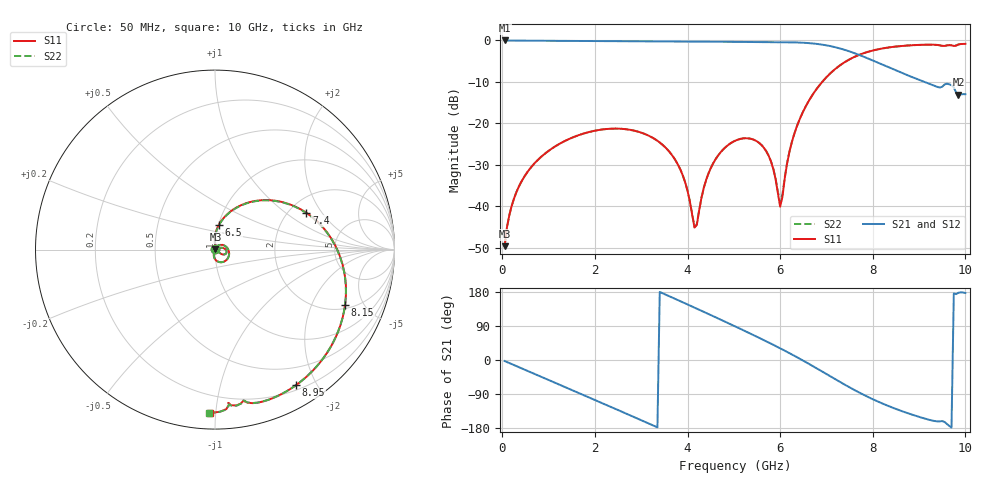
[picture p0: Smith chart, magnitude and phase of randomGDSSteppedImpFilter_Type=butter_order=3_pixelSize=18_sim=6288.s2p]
! freq	dB(S11)	phase(S11)	dB(S12)	phase(S12)
!  dB(S21)	phase(S21)	dB(S22)	phase(S22)
!S-par simulation data
#  GHz  S  DB  R 50
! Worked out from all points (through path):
!   200 points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, 50 MHz to 10 GHz, reference 50 ohm
!   highest |S21| = -0.02 dB at 50 MHz (marker M1); lowest = -13.1 dB at 9.85 GHz (marker M2)
!   group delay of S21, straight-line fit = 159 ps
!   lowest |S11| = -49.6 dB at 50 MHz (marker M3), VSWR 1.01, Z = 50.2 + j0.227 ohm
!   |S11| at or under -10 dB: start of sweep to 6.909 GHz
!   |S22| runs from -49.6 to -0.8 dB; largest |S21 - S12| = 0
!   S11 on the Smith chart (normalised r, x): 50 MHz: 1.00, +0.00; 6.5 GHz: 1.00, +0.28; 7.4 GHz: 2.47, +1.45; 8.15 GHz: 2.20, -3.60; 8.95 GHz: 0.26, -1.73; 10 GHz: 0.09, -0.96
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0.05  -49.64 43.2  -0.02 -2.7  -0.02 -2.7  -49.64 43.2
0.2  -40.03 61.5  -0.04 -10.6  -0.04 -10.6  -40.03 61.5
0.55  -31.64 54.9  -0.07 -29.0  -0.07 -29.0  -31.65 55.0
1.2  -25.18 25.4  -0.11 -63.3  -0.11 -63.3  -25.18 25.5
1.75  -22.49 -2.0  -0.15 -92.3  -0.15 -92.3  -22.49 -1.9
2.65  -21.40 -48.1  -0.21 -140.1  -0.21 -140.1  -21.40 -47.9
3.4  -24.63 -85.9  -0.25 179.5  -0.25 179.5  -24.63 -85.6
3.9  -32.64 -104.7  -0.27 152.2  -0.27 152.2  -32.63 -104.1
4.15  -45.16 -57.2  -0.28 138.3  -0.28 138.3  -44.93 -56.5
4.5  -30.85 19.8  -0.31 118.7  -0.31 118.7  -30.84 19.8
5.05  -24.10 -3.8  -0.36 87.5  -0.36 87.5  -24.10 -3.5
5.7  -26.75 -34.0  -0.40 49.3  -0.40 49.3  -26.72 -32.9
6  -40.12 18.2  -0.41 30.9  -0.41 30.9  -39.17 19.4
6.2  -26.90 91.9  -0.45 18.1  -0.45 18.1  -26.83 90.3
6.5  -17.08 81.1  -0.57 -1.8  -0.57 -1.8  -17.07 80.4
6.7  -13.13 69.1  -0.73 -15.7  -0.73 -15.7  -13.12 68.7
7.4  -5.21 22.0  -2.30 -65.4  -2.30 -65.4  -5.21 21.7
8.15  -2.07 -23.2  -5.57 -111.8  -5.57 -111.8  -2.07 -23.3
8.35  -1.69 -33.2  -6.53 -122.0  -6.53 -122.0  -1.69 -33.4
8.95  -1.11 -59.2  -9.30 -148.2  -9.30 -148.2  -1.11 -59.3
9.85  -1.00 -86.0  -13.08 177.6  -13.08 177.6  -0.96 -86.4
10  -0.83 -91.9  -12.98 176.8  -12.98 176.8  -0.83 -92.1
